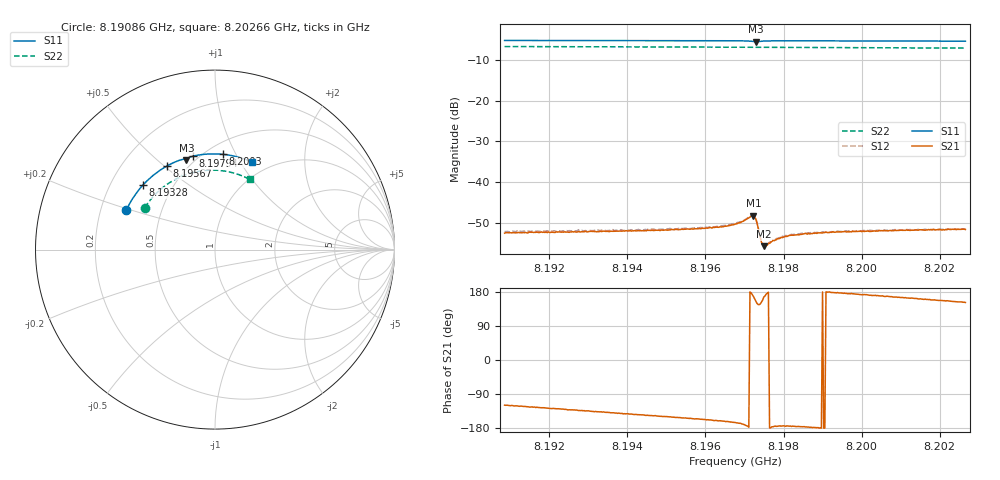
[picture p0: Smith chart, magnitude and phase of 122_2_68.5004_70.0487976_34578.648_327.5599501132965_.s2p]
#  HZ  S  RI  R  50.00
! Rohde & Schwarz Vector Network Analyzer
! Rohde-Schwarz,ZNB20-2Port,1311601062101988,3.16
! Created: UTC 3/20/2024, 5:09:09 PM
! freq[Hz]  re:S11  im:S11  re:S21  im:S21  re:S12  im:S12  re:S22  im:S22
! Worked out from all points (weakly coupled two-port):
!   401 points, 8.19086 GHz to 8.20266 GHz, reference 50 ohm
!   highest |S21| = -48.14 dB at 8.19723 GHz (marker M1); lowest = -55.6 dB at 8.19749 GHz (marker M2)
!   lowest |S11| = -5.6 dB at 8.19729 GHz (marker M3), VSWR 3.19, Z = 22.8 + j31.2 ohm
!   |S11| at or under -10 dB: nowhere
!   |S22| runs from -7.2 to -6.8 dB; largest |S21 - S12| = 0.0002
!   S11 on the Smith chart (normalised r, x): 8.19086 GHz: 0.31, +0.19; 8.19328 GHz: 0.34, +0.35; 8.19567 GHz: 0.39, +0.51; 8.19794 GHz: 0.47, +0.68; 8.2003 GHz: 0.60, +0.89; 8.20266 GHz: 0.83, +1.12
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8.190858e9  -0.4935 0.2203  -0.00117 -0.0021  -0.0013 -0.00217  -0.3909 0.2336
8.192834e9  -0.4203 0.338  -0.00171 -0.00183  -0.00187 -0.00181  -0.3217 0.3188
8.193277e9  -0.4001 0.3614  -0.00182 -0.00171  -0.00195 -0.00172  -0.3035 0.3355
8.194811e9  -0.3193 0.4331  -0.00223 -0.00137  -0.00232 -0.00133  -0.2334 0.385
8.195666e9  -0.2681 0.4654  -0.00245 -0.00115  -0.00254 -0.00112  -0.1906 0.4063
8.196403e9  -0.221 0.4887  -0.00271 -0.00094  -0.00284 -0.000844  -0.1518 0.4212
8.196757e9  -0.1964 0.4982  -0.00299 -0.000814  -0.00309 -0.000685  -0.1327 0.4268
8.196964e9  -0.1811 0.5026  -0.0033 -0.000614  -0.00338 -0.000489  -0.1214 0.4299
8.19717e9  -0.1638 0.5027  -0.00387 0.000205  -0.00392 0.000396  -0.11 0.4323
8.197229e9  -0.1601 0.5001  -0.00383 0.000835  -0.00383 0.00102  -0.1068 0.433
8.197288e9  -0.1595 0.4974  -0.00327 0.0015  -0.00327 0.00168  -0.1035 0.4336
8.197318e9  -0.1603 0.4974  -0.00279 0.00162  -0.00279 0.00175  -0.1021 0.4341
8.197436e9  -0.1594 0.5042  -0.00165 0.000836  -0.00168 0.000912  -0.0957 0.4355
8.197495e9  -0.1558 0.508  -0.00162 0.0004  -0.00164 0.000532  -0.0925 0.4361
8.197554e9  -0.1514 0.5106  -0.00169 0.000194  -0.00173 0.000283  -0.0891 0.4367
8.197731e9  -0.1382 0.5162  -0.00195 -0.00013  -0.00199 -5.58e-05  -0.0792 0.4383
8.197937e9  -0.123 0.5205  -0.00213 -0.000204  -0.00215 -0.000116  -0.0676 0.4399
8.198173e9  -0.1062 0.5242  -0.00225 -0.000227  -0.00229 -9.92e-05  -0.0542 0.4413
8.198734e9  -0.0661 0.5302  -0.00237 -6.44e-05  -0.0024 2.33e-05  -0.0225 0.4429
8.200297e9  0.0446 0.5308  -0.00251 0.000419  -0.00253 0.000552  0.0659 0.4359
8.20071e9  0.0735 0.5272  -0.00252 0.000568  -0.00251 0.000645  0.089 0.4309
8.202657e9  0.2052 0.4884  -0.00235 0.00126  -0.00234 0.00136  0.1928 0.391
